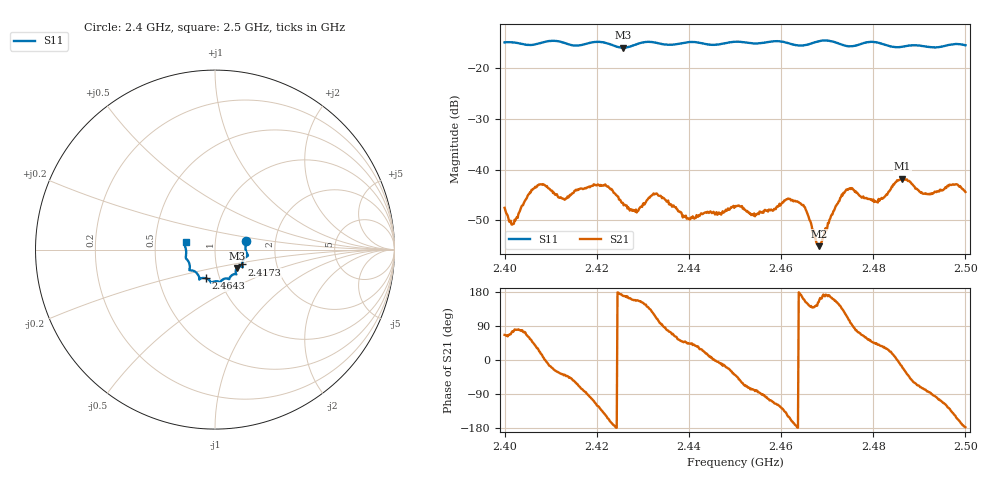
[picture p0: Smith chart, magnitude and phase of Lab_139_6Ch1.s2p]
# Hz S RI R 50
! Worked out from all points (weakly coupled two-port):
!   601 points, 2.4 GHz to 2.5 GHz, reference 50 ohm
!   highest |S21| = -41.74 dB at 2.4863 GHz (marker M1); lowest = -55.1 dB at 2.4683 GHz (marker M2)
!   lowest |S11| = -15.9 dB at 2.4257 GHz (marker M3), VSWR 1.38, Z = 62.4 - j13.1 ohm
!   |S11| at or under -10 dB: start of sweep to end of sweep
!   S12 and S22 are empty: the file has one direction only
!   S11 on the Smith chart (normalised r, x): 2.4 GHz: 1.41, +0.14; 2.4173 GHz: 1.34, -0.23; 2.4643 GHz: 0.86, -0.28; 2.5 GHz: 0.72, +0.06
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2.4e9  0.1736 0.0493  0.00169 0.00385  0 0  0 0
2.402e9  0.175 0.0411  0.000679 0.00285  0 0  0 0
2.407667e9  0.1763 -0.0178  0.00665 0.0026  0 0  0 0
2.412833e9  0.1749 -0.0398  0.00394 -0.00334  0 0  0 0
2.416667e9  0.1526 -0.0749  0.0016 -0.00633  0 0  0 0
2.417333e9  0.152 -0.0824  0.000841 -0.00647  0 0  0 0
2.422e9  0.1513 -0.0944  -0.00588 -0.0038  0 0  0 0
2.425667e9  0.1224 -0.1024  -0.00463 0.000866  0 0  0 0
2.4285e9  0.1153 -0.128  -0.00371 0.00161  0 0  0 0
2.433333e9  0.1125 -0.1366  -0.00136 0.0054  0 0  0 0
2.44e9  0.0797 -0.1632  0.00241 0.00227  0 0  0 0
2.45e9  0.0295 -0.1807  0.00338 -0.00277  0 0  0 0
2.454e9  0.0102 -0.176  0.000723 -0.00346  0 0  0 0
2.464333e9  -0.0501 -0.1602  -0.00455 0.000662  0 0  0 0
2.466667e9  -0.076 -0.1596  -0.00208 0.00181  0 0  0 0
2.468333e9  -0.0859 -0.165  -0.00165 0.000615  0 0  0 0
2.474333e9  -0.1002 -0.1322  -0.00256 0.00585  0 0  0 0
2.4805e9  -0.1427 -0.1119  0.00358 0.00332  0 0  0 0
2.483333e9  -0.1405 -0.0898  0.00544 0.00269  0 0  0 0
2.486333e9  -0.1517 -0.0606  0.00768 -0.00283  0 0  0 0
2.491167e9  -0.1614 -0.0333  0.00122 -0.00568  0 0  0 0
2.5e9  -0.1639 0.0418  -0.00603 -0.000276  0 0  0 0
